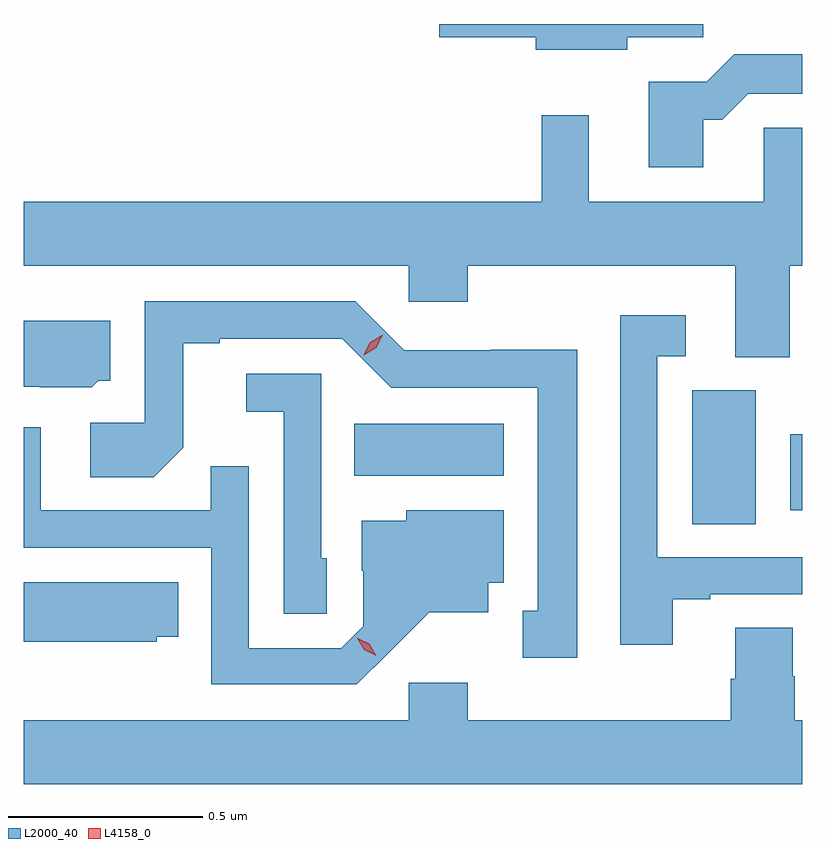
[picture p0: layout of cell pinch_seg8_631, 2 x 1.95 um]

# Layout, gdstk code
import gdstk
lib = gdstk.Library(unit=1e-6, precision=1e-09)
def R(c, l, rs):  # rectangles x0, y0, x1, y1
    for r in rs: c.add(gdstk.rectangle(r[:2], r[2:], *l))
def P(c, l, *ps):  # polygons
    for p in ps: c.add(gdstk.Polygon(p, *l))
L2000_40 = (2000, 40)
L4158_0 = (4158, 0)

pinch_seg8_631 = lib.new_cell('pinch_seg8_631')
R(pinch_seg8_631, L2000_40, [(161.546,1087.864,161.71,1088.208), (161.798,1087.899,161.829,1088.095), (160.678,1087.988,161.062,1088.122)])
P(pinch_seg8_631, L2000_40, [(161.38,1089.115),(161.575,1089.115),(161.575,1089.149),(160.896,1089.149),(160.896,1089.115),(161.144,1089.115),(161.144,1089.083),(161.38,1089.083)],
  [(161.575,1088.903),(161.624,1088.903),(161.691,1088.97),(161.829,1088.97),(161.829,1089.071),(161.654,1089.071),(161.584,1089.001),(161.435,1089.001),(161.435,1088.781),(161.575,1088.781)],
  [(161.797,1088.528),(161.829,1088.528),(161.829,1088.882),(161.73,1088.882),(161.73,1088.692),(161.281,1088.692),(161.281,1088.914),(161.16,1088.914),(161.16,1088.692),(159.829,1088.692),(159.829,1088.528),(160.818,1088.528),(160.818,1088.435),(160.97,1088.435),(160.97,1088.528),(161.657,1088.528),(161.657,1088.293),(161.797,1088.293)],
  [(161.251,1088.312),(161.028,1088.312),(161.028,1088.31),(160.806,1088.31),(160.68,1088.436),(160.14,1088.436),(160.14,1088.124),(159.999,1088.124),(159.999,1087.984),(160.163,1087.984),(160.239,1088.06),(160.239,1088.328),(160.333,1088.328),(160.333,1088.34),(160.647,1088.34),(160.773,1088.214),(161.15,1088.214),(161.15,1087.641),(161.111,1087.641),(161.111,1087.521),(161.251,1087.521)],
  [(161.497,1087.671),(161.593,1087.671),(161.593,1087.683),(161.829,1087.683),(161.829,1087.779),(161.457,1087.779),(161.457,1088.295),(161.53,1088.295),(161.53,1088.401),(161.361,1088.401),(161.361,1087.554),(161.497,1087.554)],
  [(160.02,1088.232),(160.051,1088.232),(160.051,1088.386),(159.829,1088.386),(159.829,1088.217),(159.87,1088.217),(159.87,1088.216),(160.004,1088.216)],
  [(160.608,1087.776),(160.593,1087.776),(160.593,1088.25),(160.401,1088.25),(160.401,1088.153),(160.497,1088.153),(160.497,1087.633),(160.608,1087.633)],
  [(160.768,1087.535),(160.871,1087.637),(161.023,1087.637),(161.023,1087.713),(161.062,1087.713),(161.062,1087.9),(160.812,1087.9),(160.812,1087.873),(160.697,1087.873),(160.697,1087.744),(160.701,1087.744),(160.701,1087.602),(160.644,1087.545),(160.407,1087.545),(160.407,1088.012),(160.309,1088.012),(160.309,1087.899),(159.873,1087.899),(159.873,1088.113),(159.829,1088.113),(159.829,1087.803),(160.311,1087.803),(160.311,1087.452),(160.684,1087.452)],
  [(160.17,1087.574),(160.226,1087.574),(160.226,1087.714),(159.829,1087.714),(159.829,1087.562),(160.17,1087.562)],
  [(161.829,1087.36),(161.81,1087.36),(161.81,1087.473),(161.805,1087.473),(161.805,1087.598),(161.657,1087.598),(161.657,1087.466),(161.645,1087.466),(161.645,1087.36),(160.97,1087.36),(160.97,1087.456),(160.818,1087.456),(160.818,1087.36),(159.829,1087.36),(159.829,1087.196),(161.829,1087.196)])
P(pinch_seg8_631, L4158_0, [(160.734,1087.526),(160.704,1087.541),(160.686,1087.571),(160.686,1087.571),(160.687,1087.571),(160.717,1087.556),(160.734,1087.526),(160.734,1087.526)],
  [(160.702,1088.298),(160.702,1088.299),(160.719,1088.331),(160.751,1088.35),(160.751,1088.35),(160.751,1088.35),(160.734,1088.317),(160.702,1088.298)])

lib.write_gds('pinch_seg8_631.gds')
